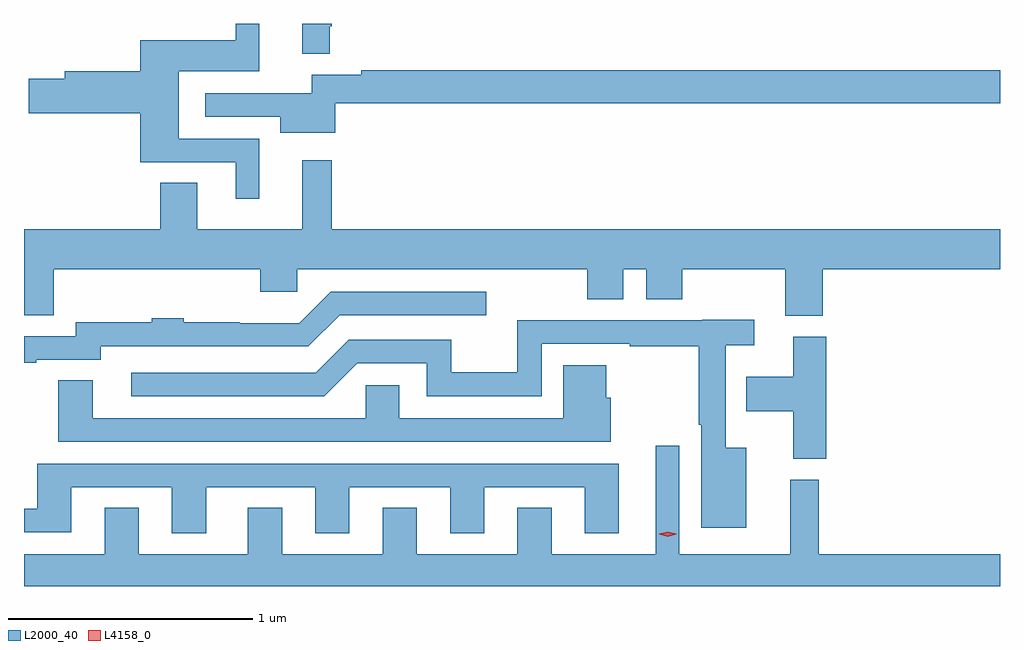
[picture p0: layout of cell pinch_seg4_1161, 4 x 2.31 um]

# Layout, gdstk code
import gdstk
lib = gdstk.Library(unit=1e-6, precision=1e-09)
def P(c, l, *ps):  # polygons
    for p in ps: c.add(gdstk.Polygon(p, *l))
L2000_40 = (2000, 40)
L4158_0 = (4158, 0)

pinch_seg4_1161 = lib.new_cell('pinch_seg4_1161')
P(pinch_seg4_1161, L2000_40, [(408.484,750.735),(408.154,750.735),(408.154,751.01),(408.484,751.01),(408.484,751.206),(408.386,751.206),(408.386,751.138),(407.996,751.138),(407.996,751.01),(407.687,751.01),(407.687,750.98),(407.538,750.98),(407.538,750.838),(407.996,750.838),(407.996,750.639),(408.386,750.639),(408.386,750.489),(408.484,750.489)],
  [(408.772,751.195),(408.781,751.195),(408.781,751.206),(408.659,751.206),(408.659,751.083),(408.772,751.083)],
  [(408.795,750.88),(411.519,750.88),(411.519,751.016),(408.902,751.016),(408.902,750.996),(408.699,750.996),(408.699,750.921),(408.261,750.921),(408.261,750.825),(408.569,750.825),(408.569,750.758),(408.795,750.758)],
  [(410.792,750.2),(411.519,750.2),(411.519,750.364),(408.781,750.364),(408.781,750.646),(408.659,750.646),(408.659,750.364),(408.229,750.364),(408.229,750.554),(408.077,750.554),(408.077,750.364),(407.519,750.364),(407.519,750.01),(407.64,750.01),(407.64,750.2),(408.488,750.2),(408.488,750.107),(408.639,750.107),(408.639,750.2),(409.828,750.2),(409.828,750.076),(409.975,750.076),(409.975,750.2),(410.069,750.2),(410.069,750.076),(410.217,750.076),(410.217,750.2),(410.639,750.2),(410.639,750.008),(410.792,750.008)],
  [(407.569,749.829),(407.833,749.829),(407.833,749.883),(408.684,749.883),(408.813,750.012),(409.414,750.012),(409.414,750.108),(408.777,750.108),(408.648,749.979),(408.404,749.979),(408.404,749.982),(408.174,749.982),(408.174,749.998),(408.042,749.998),(408.042,749.982),(407.732,749.982),(407.732,749.925),(407.519,749.925),(407.519,749.817),(407.569,749.817)],
  [(410.479,749.467),(410.395,749.467),(410.395,749.888),(410.512,749.888),(410.512,749.993),(410.298,749.993),(410.298,749.991),(409.54,749.991),(409.54,749.778),(409.271,749.778),(409.271,749.91),(408.849,749.91),(408.714,749.775),(407.958,749.775),(407.958,749.679),(408.75,749.679),(408.885,749.814),(409.17,749.814),(409.17,749.679),(409.641,749.679),(409.641,749.895),(410.002,749.895),(410.002,749.883),(410.284,749.883),(410.284,749.563),(410.294,749.563),(410.294,749.141),(410.479,749.141)],
  [(410.807,749.923),(410.672,749.923),(410.672,749.758),(410.48,749.758),(410.48,749.618),(410.672,749.618),(410.672,749.422),(410.807,749.422)],
  [(409.924,749.673),(409.906,749.673),(409.906,749.806),(409.73,749.806),(409.73,749.589),(409.057,749.589),(409.057,749.725),(408.919,749.725),(408.919,749.589),(407.8,749.589),(407.8,749.744),(407.66,749.744),(407.66,749.493),(409.924,749.493)],
  [(411.519,749.032),(410.777,749.032),(410.777,749.337),(410.66,749.337),(410.66,749.032),(410.205,749.032),(410.205,749.476),(410.108,749.476),(410.108,749.032),(409.681,749.032),(409.681,749.222),(409.541,749.222),(409.541,749.032),(409.129,749.032),(409.129,749.222),(408.989,749.222),(408.989,749.032),(408.577,749.032),(408.577,749.222),(408.437,749.222),(408.437,749.032),(407.989,749.032),(407.989,749.222),(407.849,749.222),(407.849,749.032),(407.519,749.032),(407.519,748.9),(411.519,748.9)],
  [(408.265,749.307),(408.713,749.307),(408.713,749.118),(408.853,749.118),(408.853,749.307),(409.265,749.307),(409.265,749.118),(409.405,749.118),(409.405,749.307),(409.817,749.307),(409.817,749.118),(409.957,749.118),(409.957,749.403),(407.573,749.403),(407.573,749.217),(407.519,749.217),(407.519,749.121),(407.713,749.121),(407.713,749.307),(408.125,749.307),(408.125,749.118),(408.265,749.118)])
P(pinch_seg4_1161, L4158_0, [(410.157,749.104),(410.122,749.114),(410.122,749.114),(410.122,749.115),(410.157,749.124),(410.192,749.115),(410.193,749.114),(410.192,749.114)])

lib.write_gds('pinch_seg4_1161.gds')
